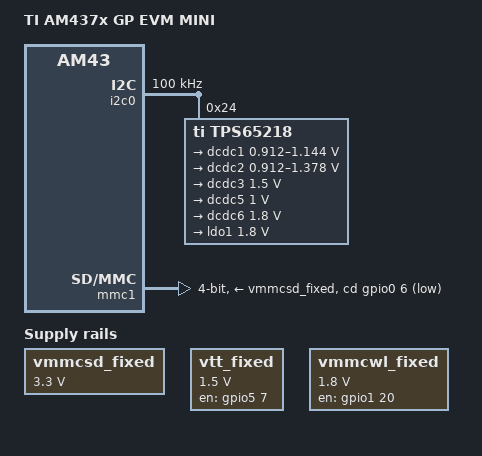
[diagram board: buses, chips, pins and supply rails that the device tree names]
// SPDX-License-Identifier: GPL-2.0
/*
 * Copyright (C) 2020 Texas Instruments Incorporated - http://www.ti.com/
 */

/* AM437x GP EVM MINI */

/dts-v1/;

#include "am4372.dtsi"
#include <dt-bindings/pinctrl/am43xx.h>
#include <dt-bindings/gpio/gpio.h>

/ {
	model = "TI AM437x GP EVM MINI";
	compatible = "ti,am437x-gp-evm-mini","ti,am437x-gp-evm","ti,am4372","ti,am43";

	chosen {
		stdout-path = &uart0;
		tick-timer = &timer2;
	};

	ocp {
		u-boot,dm-spl;
	};

	vmmcsd_fixed: fixedregulator-sd {
		compatible = "regulator-fixed";
		regulator-name = "vmmcsd_fixed";
		regulator-min-microvolt = <3300000>;
		regulator-max-microvolt = <3300000>;
		enable-active-high;
	};

	vtt_fixed: fixedregulator-vtt {
		compatible = "regulator-fixed";
		regulator-name = "vtt_fixed";
		regulator-min-microvolt = <1500000>;
		regulator-max-microvolt = <1500000>;
		regulator-always-on;
		regulator-boot-on;
		enable-active-high;
		gpio = <&gpio5 7 GPIO_ACTIVE_HIGH>;
	};

	vmmcwl_fixed: fixedregulator-mmcwl {
		compatible = "regulator-fixed";
		regulator-name = "vmmcwl_fixed";
		regulator-min-microvolt = <1800000>;
		regulator-max-microvolt = <1800000>;
		gpio = <&gpio1 20 GPIO_ACTIVE_HIGH>;
		enable-active-high;
	};
};

&am43xx_pinmux {
	i2c0_pins: i2c0_pins {
		pinctrl-single,pins = <
			0x188 (PIN_INPUT_PULLUP | SLEWCTRL_FAST | MUX_MODE0) /* i2c0_sda.i2c0_sda */
			0x18c (PIN_INPUT_PULLUP | SLEWCTRL_FAST | MUX_MODE0) /* i2c0_scl.i2c0_scl */
		>;
	};

	mmc1_pins: pinmux_mmc1_pins {
		pinctrl-single,pins = <
			0x160 (PIN_INPUT | MUX_MODE7) /* spi0_cs1.gpio0_6 */
		>;
	};
};

&i2c0 {
	status = "okay";
	pinctrl-names = "default";
	pinctrl-0 = <&i2c0_pins>;
	clock-frequency = <100000>;

	tps65218: tps65218@24 {
		reg = <0x24>;
		compatible = "ti,tps65218";
		interrupts = <GIC_SPI 7 IRQ_TYPE_NONE>; /* NMIn */
		interrupt-controller;
		#interrupt-cells = <2>;

		dcdc1: regulator-dcdc1 {
			compatible = "ti,tps65218-dcdc1";
			regulator-name = "vdd_core";
			regulator-min-microvolt = <912000>;
			regulator-max-microvolt = <1144000>;
			regulator-boot-on;
			regulator-always-on;
		};

		dcdc2: regulator-dcdc2 {
			compatible = "ti,tps65218-dcdc2";
			regulator-name = "vdd_mpu";
			regulator-min-microvolt = <912000>;
			regulator-max-microvolt = <1378000>;
			regulator-boot-on;
			regulator-always-on;
		};

		dcdc3: regulator-dcdc3 {
			compatible = "ti,tps65218-dcdc3";
			regulator-name = "vdcdc3";
			regulator-min-microvolt = <1500000>;
			regulator-max-microvolt = <1500000>;
			regulator-boot-on;
			regulator-always-on;
		};

		dcdc5: regulator-dcdc5 {
			compatible = "ti,tps65218-dcdc5";
			regulator-name = "v1_0bat";
			regulator-min-microvolt = <1000000>;
			regulator-max-microvolt = <1000000>;
		};

		dcdc6: regulator-dcdc6 {
			compatible = "ti,tps65218-dcdc6";
			regulator-name = "v1_8bat";
			regulator-min-microvolt = <1800000>;
			regulator-max-microvolt = <1800000>;
		};

		ldo1: regulator-ldo1 {
			compatible = "ti,tps65218-ldo1";
			regulator-min-microvolt = <1800000>;
			regulator-max-microvolt = <1800000>;
			regulator-boot-on;
			regulator-always-on;
		};
	};
};

&gpio0 {
	status = "okay";
};

&gpio1 {
	status = "okay";
};

&gpio3 {
	status = "okay";
};

&gpio4 {
	status = "okay";
};

&gpio5 {
	status = "okay";
};

&mmc1 {
	status = "okay";
	vmmc-supply = <&vmmcsd_fixed>;
	bus-width = <4>;
	pinctrl-names = "default";
	pinctrl-0 = <&mmc1_pins>;
	cd-gpios = <&gpio0 6 GPIO_ACTIVE_LOW>;
	u-boot,dm-spl;
};

&uart0 {
	u-boot,dm-spl;
};

&i2c0 {
	u-boot,dm-spl;
};
